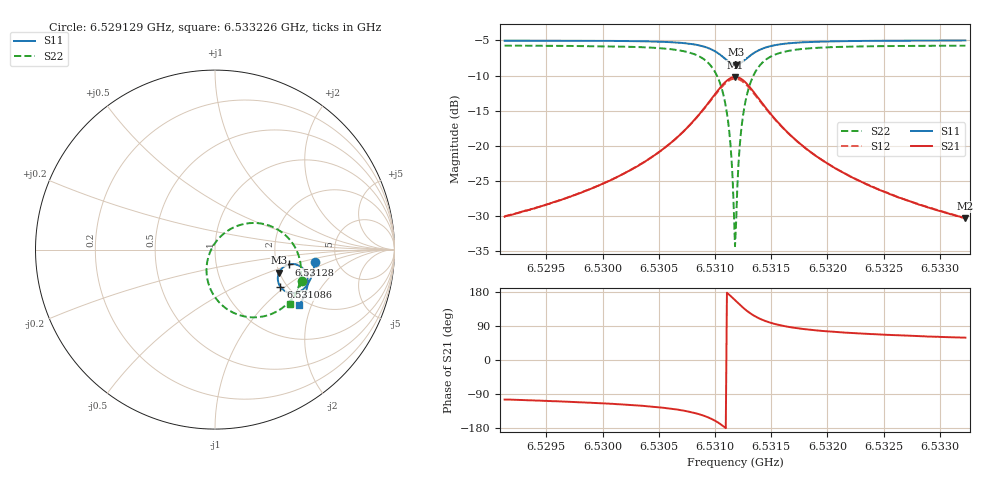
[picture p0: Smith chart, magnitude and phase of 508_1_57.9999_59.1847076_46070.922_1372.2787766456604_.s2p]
#  HZ  S  RI  R  50.00
! Rohde & Schwarz Vector Network Analyzer
! Rohde-Schwarz,ZNB20-2Port,1311601062101988,3.16
! Created: UTC 3/21/2024, 1:13:03 AM
! freq[Hz]  re:S11  im:S11  re:S21  im:S21  re:S12  im:S12  re:S22  im:S22
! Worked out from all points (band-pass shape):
!   401 points, 6.529129 GHz to 6.533226 GHz, reference 50 ohm
!   highest |S21| = -10.18 dB at 6.531178 GHz (marker M1); lowest = -30.3 dB at 6.533226 GHz (marker M2)
!   |S21| within 3 dB of the highest: 6.530975 GHz to 6.531384 GHz (409 kHz wide, 0.00626 % of centre)
!   lowest |S11| = -8.4 dB at 6.531188 GHz (marker M3), VSWR 2.22, Z = 99.4 - j30 ohm
!   |S11| at or under -10 dB: nowhere
!   |S22| runs from -34.3 to -5.7 dB; largest |S21 - S12| = 0.012
!   S11 on the Smith chart (normalised r, x): 6.529129 GHz: 3.40, -0.68; 6.531086 GHz: 1.84, -0.93; 6.53128 GHz: 2.32, -0.47; 6.533226 GHz: 1.82, -1.64
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6.5291295e9  0.5566 -0.0688  -0.00768 -0.0303  -0.00825 -0.0303  0.4872 -0.1726
6.5298157e9  0.5455 -0.1257  -0.0172 -0.0432  -0.0182 -0.0429  0.4558 -0.2364
6.5305019e9  0.5163 -0.1938  -0.0514 -0.074  -0.0535 -0.0725  0.3737 -0.3263
6.5307374e9  0.4888 -0.2232  -0.0916 -0.0931  -0.0944 -0.09  0.2925 -0.3664
6.5309115e9  0.4446 -0.2418  -0.1602 -0.0991  -0.1625 -0.0926  0.1658 -0.3726
6.5310139e9  0.3995 -0.2359  -0.23 -0.072  -0.229 -0.0626  0.0474 -0.3167
6.5310856e9  0.3648 -0.2078  -0.2811 -0.0128  -0.2752 -0.00297  -0.0302 -0.2085
6.5311266e9  0.352 -0.1794  -0.2969 0.0405  -0.2879 0.0485  -0.0473 -0.1173
6.5311675e9  0.3513 -0.1456  -0.2919 0.1016  -0.281 0.106  -0.0291 -0.0179
6.5311778e9  0.3534 -0.1373  -0.2868 0.1165  -0.2758 0.12  -0.0183 0.00582
6.531188e9  0.3564 -0.1291  -0.2802 0.131  -0.2692 0.1334  -0.0053 0.0283
6.5311983e9  0.3603 -0.1213  -0.2723 0.1445  -0.2614 0.146  0.00991 0.0494
6.5312188e9  0.3703 -0.1074  -0.2529 0.1688  -0.2427 0.1684  0.0454 0.0861
6.531229e9  0.3762 -0.1015  -0.2418 0.1792  -0.2322 0.178  0.0652 0.1013
6.5312495e9  0.3891 -0.0919  -0.2181 0.1957  -0.2094 0.1935  0.1072 0.1251
6.5312802e9  0.41 -0.083  -0.1806 0.2113  -0.1739 0.208  0.1715 0.1448
6.5313519e9  0.4535 -0.0836  -0.1042 0.2128  -0.101 0.2095  0.2998 0.1347
6.5314543e9  0.4911 -0.1065  -0.0389 0.1809  -0.0375 0.1791  0.4063 0.0667
6.5316079e9  0.5124 -0.1433  0.000213 0.1334  0.00133 0.1327  0.4648 -0.0296
6.531864e9  0.5168 -0.187  0.0165 0.087  0.0175 0.0866  0.4795 -0.1277
6.5325501e9  0.4973 -0.2578  0.0183 0.0416  0.0191 0.0413  0.451 -0.2449
6.5332261e9  0.4707 -0.3082  0.0157 0.0261  0.0163 0.0259  0.4164 -0.3052
